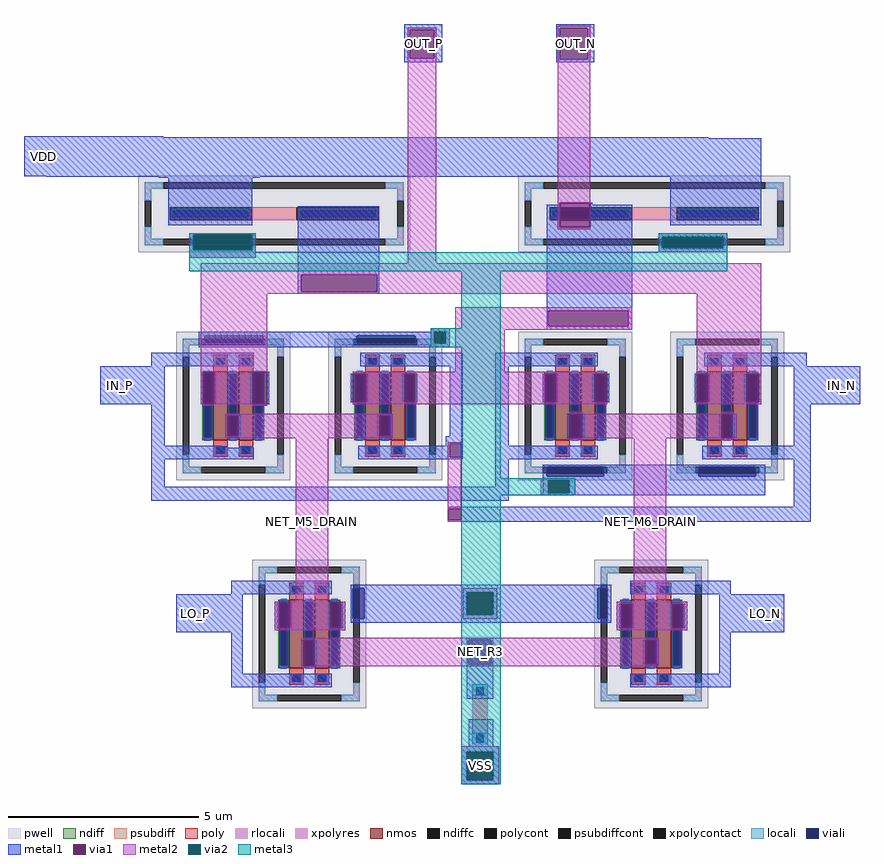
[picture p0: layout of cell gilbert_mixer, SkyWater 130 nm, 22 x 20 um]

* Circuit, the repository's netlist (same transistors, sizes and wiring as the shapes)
** sch_path: /home/kolos/projects/tt07-mixer/xschem/gilbert_mixer.sch
.subckt gilbert_mixer VSS VDD OUT_N OUT_P LO_N LO_P IN_N IN_P
*.PININFO LO_P:I LO_N:I IN_N:I OUT_N:O OUT_P:O VDD:B VSS:B IN_P:I
XM2 OUT_P IN_N NET_M6_DRAIN VSS sky130_fd_pr__nfet_01v8 L=0.38 W=3.6 nf=2 m=1
XM4 OUT_N IN_N NET_M5_DRAIN VSS sky130_fd_pr__nfet_01v8 L=0.38 W=3.6 nf=2 m=1
XM6 NET_M6_DRAIN LO_N NET_R3 VSS sky130_fd_pr__nfet_01v8 L=0.38 W=3.6 nf=2 m=1
XM1 OUT_N IN_P NET_M6_DRAIN VSS sky130_fd_pr__nfet_01v8 L=0.38 W=3.6 nf=2 m=1
XM3 OUT_P IN_P NET_M5_DRAIN VSS sky130_fd_pr__nfet_01v8 L=0.38 W=3.6 nf=2 m=1
XM5 NET_M5_DRAIN LO_P NET_R3 VSS sky130_fd_pr__nfet_01v8 L=0.38 W=3.6 nf=2 m=1
XR1 OUT_N VDD VSS sky130_fd_pr__res_xhigh_po_0p35 L=1.35 mult=1 m=1
XR2 OUT_P VDD VSS sky130_fd_pr__res_xhigh_po_0p35 L=1.35 mult=1 m=1
R3 VSS NET_R3 sky130_fd_pr__res_generic_l1 W=0.4 L=1 m=1
.ends
.end

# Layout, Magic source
magic
tech sky130A
magscale 1 2
<< viali >>
rect 1090 810 1400 890
rect 3560 820 3880 880
rect 1150 320 1460 360
rect 1950 320 2260 360
rect 2950 -380 3250 -330
rect 3750 -380 4050 -330
rect 1930 -1130 1990 -970
rect 3220 -1130 3270 -970
rect 2580 -1530 2620 -1490
rect 2580 -1780 2620 -1740
<< metal1 >>
rect 2200 1970 2400 2000
rect 2200 1820 2230 1970
rect 2360 1820 2400 1970
rect 2200 1800 2400 1820
rect 3000 1978 3200 2000
rect 3000 1814 3020 1978
rect 3168 1814 3200 1978
rect 3000 1800 3200 1814
rect 200 1404 934 1408
rect 200 1400 3800 1404
rect 200 1200 4080 1400
rect 320 1196 4080 1200
rect 910 1190 1440 1196
rect 960 940 1400 1190
rect 3010 1050 3020 1060
rect 1070 890 1420 900
rect 1070 810 1090 890
rect 1400 810 1420 890
rect 1070 770 1420 810
rect 1640 680 2070 1040
rect 1640 590 1660 680
rect 2060 590 2070 680
rect 1640 580 2070 590
rect 2950 930 3020 1050
rect 3180 1050 3190 1060
rect 3180 930 3400 1050
rect 3600 940 4080 1196
rect 2950 490 3400 930
rect 3540 880 3900 900
rect 3540 820 3560 880
rect 3880 820 3900 880
rect 3540 800 3900 820
rect 2950 410 2960 490
rect 3380 410 3400 490
rect 2340 380 2440 400
rect 2950 390 3400 410
rect 1120 360 2360 380
rect 1120 320 1150 360
rect 1460 320 1950 360
rect 2260 320 2360 360
rect 2420 320 2440 380
rect 1120 300 2440 320
rect 870 200 1410 270
rect 1970 200 2510 270
rect 600 0 940 200
rect 1130 0 1140 170
rect 1200 0 1210 170
rect 1390 0 1400 170
rect 1480 0 1490 170
rect 1920 10 1930 160
rect 2000 10 2010 160
rect 2190 10 2200 160
rect 2260 10 2270 160
rect 870 -220 940 0
rect 1260 -170 1270 -60
rect 1330 -170 1340 -60
rect 2060 -170 2070 -60
rect 2130 -170 2140 -60
rect 2440 -170 2510 200
rect 2420 -210 2510 -170
rect 2420 -220 2440 -210
rect 870 -230 1240 -220
rect 870 -290 1410 -230
rect 1960 -280 2440 -220
rect 2500 -280 2510 -210
rect 1960 -290 2510 -280
rect 2680 200 3220 270
rect 3780 200 4320 270
rect 2680 -220 2750 200
rect 2930 10 2940 160
rect 3000 10 3010 160
rect 3190 10 3200 160
rect 3270 10 3280 160
rect 3730 10 3740 160
rect 3800 10 3810 160
rect 3990 10 4000 160
rect 4070 10 4080 160
rect 4250 0 4600 200
rect 3060 -180 3070 -50
rect 3140 -180 3150 -50
rect 3860 -180 3870 -50
rect 3930 -180 3940 -50
rect 4250 -220 4340 0
rect 2680 -290 3220 -220
rect 3770 -290 4340 -220
rect 870 -435 940 -290
rect 2680 -435 2750 -290
rect 870 -510 2750 -435
rect 2930 -330 4100 -320
rect 2930 -380 2950 -330
rect 3250 -380 3750 -330
rect 4050 -380 4100 -330
rect 2930 -400 4100 -380
rect 2930 -470 2960 -400
rect 3070 -470 4100 -400
rect 2930 -480 4100 -470
rect 4250 -540 4340 -290
rect 2430 -550 4340 -540
rect 2500 -610 4340 -550
rect 2430 -620 4340 -610
rect 1290 -1000 1820 -930
rect 1920 -970 3290 -950
rect 1000 -1200 1350 -1000
rect 1530 -1180 1540 -1040
rect 1600 -1180 1610 -1040
rect 1800 -1180 1810 -1040
rect 1870 -1180 1880 -1040
rect 1920 -1130 1930 -970
rect 1990 -990 3220 -970
rect 1990 -1110 2530 -990
rect 2670 -1110 3220 -990
rect 1990 -1130 3220 -1110
rect 3270 -1130 3290 -970
rect 3390 -1000 3920 -930
rect 1920 -1150 3290 -1130
rect 3330 -1180 3340 -1050
rect 3400 -1180 3410 -1050
rect 3600 -1180 3610 -1050
rect 3670 -1180 3680 -1050
rect 1290 -1420 1350 -1200
rect 3860 -1200 4200 -1000
rect 2530 -1240 2670 -1230
rect 1660 -1380 1670 -1240
rect 1730 -1380 1740 -1240
rect 2530 -1370 2540 -1240
rect 2660 -1370 2670 -1240
rect 3460 -1370 3470 -1240
rect 3530 -1370 3540 -1240
rect 1290 -1490 1820 -1420
rect 2530 -1490 2670 -1370
rect 3860 -1420 3920 -1200
rect 3390 -1490 3920 -1420
rect 2530 -1530 2580 -1490
rect 2620 -1530 2670 -1490
rect 2530 -1550 2670 -1530
rect 2540 -1740 2670 -1660
rect 2540 -1780 2580 -1740
rect 2620 -1780 2670 -1740
rect 2540 -1800 2670 -1780
rect 2500 -1830 2700 -1800
rect 2500 -1980 2530 -1830
rect 2670 -1980 2700 -1830
rect 2500 -2000 2700 -1980
<< via1 >>
rect 2230 1820 2360 1970
rect 3020 1814 3168 1978
rect 1090 810 1400 890
rect 1660 590 2060 680
rect 3020 930 3180 1060
rect 3560 820 3880 880
rect 2960 410 3380 490
rect 2360 320 2420 380
rect 1140 0 1200 170
rect 1400 0 1480 170
rect 1930 10 2000 160
rect 2200 10 2260 160
rect 1270 -170 1330 -60
rect 2070 -170 2130 -60
rect 2440 -280 2500 -210
rect 2940 10 3000 160
rect 3200 10 3270 160
rect 3740 10 3800 160
rect 4000 10 4070 160
rect 3070 -180 3140 -50
rect 3870 -180 3930 -50
rect 2960 -470 3070 -400
rect 2430 -610 2500 -550
rect 1540 -1180 1600 -1040
rect 1810 -1180 1870 -1040
rect 2530 -1110 2670 -990
rect 3340 -1180 3400 -1050
rect 3610 -1180 3670 -1050
rect 1670 -1380 1730 -1240
rect 2540 -1370 2660 -1240
rect 3470 -1370 3530 -1240
rect 2530 -1980 2670 -1830
<< metal2 >>
rect 2220 1970 2370 1980
rect 2220 1820 2230 1970
rect 2360 1820 2370 1970
rect 1070 890 1420 900
rect 1070 810 1090 890
rect 1400 810 1420 890
rect 1070 770 1420 810
rect 2220 740 2370 1820
rect 3010 1978 3180 1990
rect 3010 1814 3020 1978
rect 3168 1814 3180 1978
rect 3010 1060 3180 1814
rect 3010 930 3020 1060
rect 3010 920 3180 930
rect 3540 880 3900 900
rect 3540 820 3560 880
rect 3880 820 3900 880
rect 3540 800 3900 820
rect 1130 680 4080 740
rect 1130 590 1660 680
rect 2060 590 4080 680
rect 1130 580 4080 590
rect 1130 170 1480 580
rect 2470 490 3400 510
rect 2470 410 2960 490
rect 3380 410 3400 490
rect 2340 380 2440 400
rect 2340 320 2360 380
rect 2420 320 2440 380
rect 2340 300 2440 320
rect 2470 390 3400 410
rect 2470 170 2730 390
rect 1130 0 1140 170
rect 1200 0 1400 170
rect 1930 160 3270 170
rect 2000 10 2200 160
rect 2260 10 2940 160
rect 3000 10 3200 160
rect 1930 0 3270 10
rect 3740 160 4080 580
rect 3800 10 4000 160
rect 4070 10 4080 160
rect 3740 0 4080 10
rect 1140 -10 1200 0
rect 1400 -10 1480 0
rect 3070 -50 3140 -40
rect 3870 -50 3930 -40
rect 1260 -60 2140 -50
rect 1260 -170 1270 -60
rect 1330 -170 2070 -60
rect 2130 -170 2140 -60
rect 1260 -180 2140 -170
rect 3140 -180 3870 -50
rect 3930 -180 3950 -50
rect 1630 -1040 1800 -180
rect 3070 -190 3140 -180
rect 2430 -210 2500 -200
rect 2430 -280 2440 -210
rect 2430 -550 2500 -280
rect 2920 -400 3100 -390
rect 2920 -470 2960 -400
rect 3070 -470 3100 -400
rect 2920 -480 3100 -470
rect 2430 -620 2500 -610
rect 2510 -990 2690 -970
rect 1520 -1180 1540 -1040
rect 1600 -1180 1810 -1040
rect 1870 -1180 1890 -1040
rect 2510 -1110 2530 -990
rect 2670 -1110 2690 -990
rect 3410 -1040 3580 -180
rect 3870 -190 3930 -180
rect 2510 -1130 2690 -1110
rect 3320 -1050 3690 -1040
rect 1520 -1190 1890 -1180
rect 3320 -1180 3340 -1050
rect 3400 -1180 3610 -1050
rect 3670 -1180 3690 -1050
rect 3320 -1190 3690 -1180
rect 1660 -1240 3540 -1230
rect 1660 -1380 1670 -1240
rect 1730 -1370 2540 -1240
rect 2660 -1370 3470 -1240
rect 3530 -1370 3540 -1240
rect 1730 -1380 3540 -1370
rect 1670 -1390 1730 -1380
rect 2500 -1830 2700 -1800
rect 2500 -1980 2530 -1830
rect 2670 -1980 2700 -1830
rect 2500 -2000 2700 -1980
<< via2 >>
rect 1090 810 1400 890
rect 3560 820 3880 880
rect 2360 320 2420 380
rect 2960 -470 3070 -400
rect 2530 -1110 2670 -990
rect 2530 -1980 2670 -1830
<< metal3 >>
rect 1070 890 1420 900
rect 1070 810 1090 890
rect 1400 810 1420 890
rect 1070 800 1420 810
rect 3540 880 3900 900
rect 3540 820 3560 880
rect 3880 820 3900 880
rect 3540 800 3900 820
rect 1070 700 3900 800
rect 2500 400 2710 700
rect 2340 380 2710 400
rect 2340 320 2360 380
rect 2420 320 2710 380
rect 2340 300 2710 320
rect 2500 -390 2710 300
rect 2500 -400 3100 -390
rect 2500 -470 2960 -400
rect 3070 -470 3100 -400
rect 2500 -480 3100 -470
rect 2500 -990 2710 -480
rect 2500 -1110 2530 -990
rect 2670 -1110 2710 -990
rect 2500 -1830 2710 -1110
rect 2500 -1980 2530 -1830
rect 2670 -1980 2710 -1830
rect 2500 -2000 2710 -1980
use sky130_fd_pr__res_generic_l1_TPAW2P  sky130_fd_pr__res_generic_l1_TPAW2P_0
transform 1 0 2600 0 1 -1633
box -40 -157 40 157
use sky130_fd_pr__res_xhigh_po_0p35_EFWLNN  sky130_fd_pr__res_xhigh_po_0p35_EFWLNN_0
transform 0 1 3517 -1 0 1001
box -201 -717 201 717
use sky130_fd_pr__res_xhigh_po_0p35_EFWLNN  sky130_fd_pr__res_xhigh_po_0p35_EFWLNN_1
transform 0 1 1517 -1 0 1001
box -201 -717 201 717
use sky130_fd_pr__nfet_01v8_WX3E3J  XM1
transform 1 0 2101 0 1 -10
box -301 -390 301 390
use sky130_fd_pr__nfet_01v8_WX3E3J  XM2
transform 1 0 1701 0 1 -1210
box -301 -390 301 390
use sky130_fd_pr__nfet_01v8_WX3E3J  XM3
transform 1 0 3101 0 1 -10
box -301 -390 301 390
use sky130_fd_pr__nfet_01v8_WX3E3J  XM4
transform 1 0 3501 0 1 -1210
box -301 -390 301 390
use sky130_fd_pr__nfet_01v8_WX3E3J  XM5
transform 1 0 3901 0 1 -10
box -301 -390 301 390
use sky130_fd_pr__nfet_01v8_WX3E3J  XM6
transform 1 0 1301 0 1 -10
box -301 -390 301 390
<< labels >>
flabel metal1 4000 -1200 4200 -1000 0 FreeSans 256 0 0 0 LO_N
port 4 nsew
flabel metal1 1000 -1200 1200 -1000 0 FreeSans 256 0 0 0 LO_P
port 5 nsew
flabel metal1 600 0 800 200 0 FreeSans 256 0 0 0 IN_P
port 7 nsew
flabel metal1 2200 1800 2400 2000 0 FreeSans 256 0 0 0 OUT_P
port 3 nsew
flabel metal1 4400 0 4600 200 0 FreeSans 256 0 0 0 IN_N
port 6 nsew
flabel metal2 1630 -1190 1800 -50 0 FreeSans 480 0 0 0 NET_M5_DRAIN
flabel metal2 3410 -1190 3580 -50 0 FreeSans 480 0 0 0 NET_M6_DRAIN
flabel metal1 3000 1800 3200 2000 0 FreeSans 256 0 0 0 OUT_N
port 2 nsew
flabel metal1 204 1204 404 1404 0 FreeSans 256 0 0 0 VDD
port 1 nsew
flabel via1 2540 -1370 2660 -1240 0 FreeSans 480 0 0 0 NET_R3
flabel metal1 2500 -2000 2700 -1800 0 FreeSans 256 0 0 0 VSS
port 0 nsew
<< end >>

# cell sky130_fd_pr__res_generic_l1_TPAW2P: kit device sky130_fd_pr__res_generic_l1, w 0.4 l 1 m 1 nx 1 wmin 0.17 lmin 0.17 rho 12.8 val 32.0 dummy 0 dw 0.0 term 0.0 snake 0 roverlap 0

# cell sky130_fd_pr__res_xhigh_po_0p35_EFWLNN: kit device sky130_fd_pr__res_xhigh_po_0p35, w 0.350 l 1.35 m 1 nx 1 wmin 0.350 lmin 0.50 rho 2000 val 8.789k dummy 0 dw 0.0 term 188.2 sterm 0.0 caplen 0 wmax 0.350 guard 1 glc 1 grc 1 gtc 1 gbc 1 compatible {sky130_fd_pr__res_xhigh_po_0p35 sky130_fd_pr__res_xhigh_po_0p69 sky130_fd_pr__res_xhigh_po_1p41 sky130_fd_pr__res_xhigh_po_2p85 sky130_fd_pr__res_xhigh_po_5p73} snake 0 full_metal 1 n_guard 0 hv_guard 0 vias 1 viagb 0 viagt 0 viagl 0 viagr 0

# cell sky130_fd_pr__nfet_01v8_WX3E3J: kit device sky130_fd_pr__nfet_01v8, w 1.8 l 0.38 m 1 nf 2 diffcov 100 polycov 100 guard 1 glc 1 grc 1 gtc 1 gbc 1 tbcov 100 rlcov 100 topc 1 botc 1 poverlap 0 doverlap 1 lmin 0.15 wmin 0.42 compatible {sky130_fd_pr__nfet_01v8 sky130_fd_pr__nfet_01v8_lvt sky130_fd_bs_flash__special_sonosfet_star sky130_fd_pr__nfet_g5v0d10v5 sky130_fd_pr__nfet_05v0_nvt sky130_fd_pr__nfet_03v3_nvt} full_metal 1 viasrc 100 viadrn 100 viagate 100 viagb 0 viagr 0 viagl 0 viagt 0
